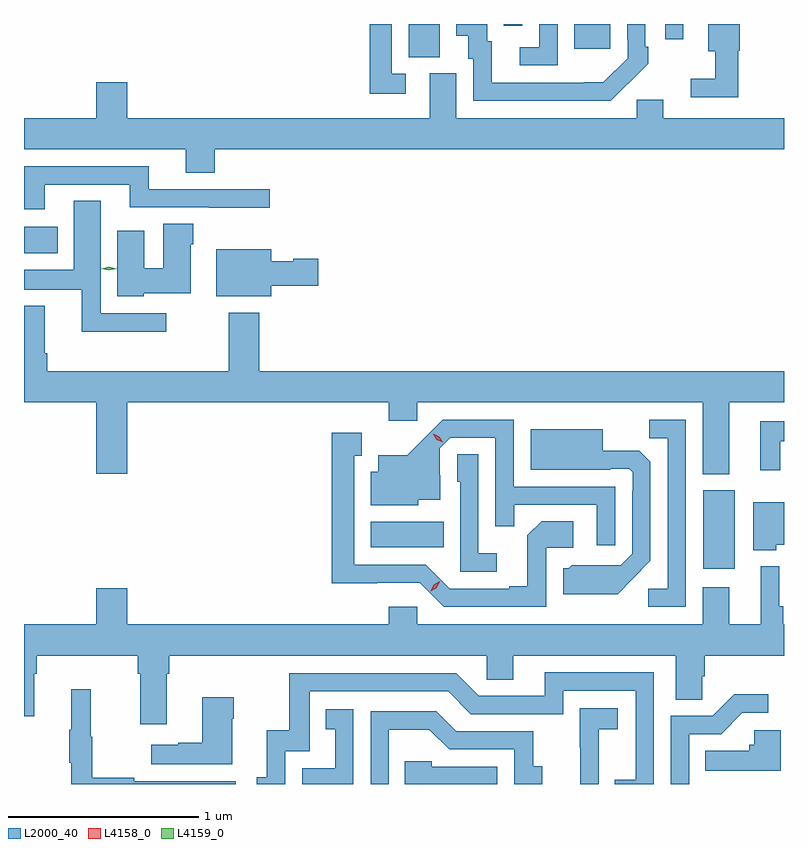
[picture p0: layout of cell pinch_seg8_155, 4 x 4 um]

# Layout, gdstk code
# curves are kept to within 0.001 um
import gdstk
lib = gdstk.Library(unit=1e-6, precision=1e-09)
def R(c, l, rs):  # rectangles x0, y0, x1, y1
    for r in rs: c.add(gdstk.rectangle(r[:2], r[2:], *l))
def P(c, l, *ps):  # polygons
    for p in ps: c.add(gdstk.Polygon(p, *l))
L2000_40 = (2000, 40)
L4158_0 = (4158, 0)
L4159_0 = (4159, 0)

pinch_seg8_155 = lib.new_cell('pinch_seg8_155')
R(pinch_seg8_155, L2000_40, [(707.663,1142.265,707.83,1142.677), (705.914,1142.378,706.298,1142.512), (704.088,1143.926,704.266,1144.066), (706.112,1144.957,706.276,1145.132), (706.985,1145.001,707.173,1145.132), (707.463,1145.052,707.559,1145.132), (706.614,1145.124,706.71,1145.132)])
P(pinch_seg8_155, L2000_40, [(706.096,1144.869),(706.023,1144.869),(706.023,1145.132),(705.907,1145.132),(705.907,1144.764),(706.096,1144.764)],
  [(707.848,1144.992),(707.856,1144.992),(707.856,1145.132),(707.69,1145.132),(707.69,1144.988),(707.727,1144.988),(707.727,1144.843),(707.598,1144.843),(707.598,1144.746),(707.848,1144.746)],
  [(707.267,1144.819),(707.268,1144.818),(707.373,1144.923),(707.373,1145.011),(707.358,1145.011),(707.358,1145.132),(707.262,1145.132),(707.262,1145.053),(707.265,1145.053),(707.265,1144.953),(707.137,1144.825),(707.033,1144.824),(706.549,1144.824),(706.549,1145.04),(706.525,1145.04),(706.525,1145.132),(706.364,1145.132),(706.364,1145.069),(706.427,1145.069),(706.427,1144.95),(706.452,1144.95),(706.452,1144.728),(707.176,1144.728)],
  [(706.896,1145.132),(706.8,1145.132),(706.8,1145.01),(706.698,1145.01),(706.698,1144.914),(706.896,1144.914)],
  [(705.092,1144.472),(708.088,1144.472),(708.088,1144.636),(707.452,1144.636),(707.452,1144.734),(707.313,1144.734),(707.313,1144.636),(706.363,1144.636),(706.363,1144.872),(706.223,1144.872),(706.223,1144.636),(704.632,1144.636),(704.632,1144.825),(704.468,1144.825),(704.468,1144.636),(704.088,1144.636),(704.088,1144.472),(704.939,1144.472),(704.939,1144.348),(705.092,1144.348)],
  [(704.197,1144.287),(704.645,1144.287),(704.645,1144.167),(705.061,1144.167),(705.061,1144.165),(705.382,1144.165),(705.382,1144.263),(704.744,1144.263),(704.744,1144.383),(704.088,1144.383),(704.088,1144.158),(704.197,1144.158)],
  [(704.836,1143.609),(704.491,1143.609),(704.491,1144.202),(704.351,1144.202),(704.351,1143.838),(704.088,1143.838),(704.088,1143.734),(704.393,1143.734),(704.393,1143.512),(704.836,1143.512)],
  [(704.718,1143.716),(704.965,1143.716),(704.965,1143.974),(704.978,1143.974),(704.978,1144.082),(704.822,1144.082),(704.822,1143.846),(704.722,1143.846),(704.722,1144.045),(704.579,1144.045),(704.579,1143.698),(704.718,1143.698)],
  [(705.388,1143.754),(705.637,1143.754),(705.637,1143.896),(705.504,1143.896),(705.504,1143.883),(705.388,1143.883),(705.388,1143.946),(705.101,1143.946),(705.101,1143.698),(705.388,1143.698)],
  [(707.8,1143.14),(708.088,1143.14),(708.088,1143.304),(705.326,1143.304),(705.326,1143.613),(705.166,1143.613),(705.166,1143.304),(704.21,1143.304),(704.21,1143.4),(704.197,1143.4),(704.197,1143.649),(704.088,1143.649),(704.088,1143.14),(704.468,1143.14),(704.468,1142.766),(704.632,1142.766),(704.632,1143.14),(706.007,1143.14),(706.007,1143.045),(706.158,1143.045),(706.158,1143.14),(707.66,1143.14),(707.66,1142.762),(707.8,1142.762)],
  [(707.199,1142.697),(706.665,1142.697),(706.665,1143.048),(706.292,1143.048),(706.105,1142.863),(705.953,1142.863),(705.953,1142.776),(705.914,1142.776),(705.914,1142.6),(706.164,1142.6),(706.164,1142.627),(706.279,1142.627),(706.279,1142.756),(706.275,1142.756),(706.275,1142.898),(706.332,1142.955),(706.569,1142.955),(706.569,1142.488),(706.667,1142.488),(706.667,1142.601),(707.103,1142.601),(707.103,1142.388),(707.199,1142.388)],
  [(707.571,1143.048),(707.38,1143.048),(707.38,1142.953),(707.475,1142.953),(707.475,1142.16),(707.373,1142.16),(707.373,1142.064),(707.571,1142.064)],
  [(708.067,1142.936),(708.088,1142.936),(708.088,1143.04),(707.963,1143.04),(707.963,1142.784),(708.067,1142.784)],
  [(707.293,1142.213),(707.385,1142.306),(707.385,1142.828),(707.326,1142.887),(707.134,1142.887),(707.134,1142.998),(706.754,1142.998),(706.754,1142.786),(707.174,1142.786),(707.174,1142.79),(707.274,1142.79),(707.292,1142.772),(707.292,1142.672),(707.289,1142.672),(707.289,1142.343),(707.229,1142.283),(706.972,1142.284),(706.956,1142.268),(706.925,1142.268),(706.925,1142.132),(707.213,1142.132)],
  [(706.836,1142.376),(706.978,1142.376),(706.978,1142.516),(706.813,1142.516),(706.737,1142.44),(706.737,1142.173),(706.643,1142.173),(706.643,1142.16),(706.329,1142.16),(706.203,1142.286),(705.826,1142.286),(705.826,1142.859),(705.865,1142.859),(705.865,1142.98),(705.708,1142.98),(705.708,1142.189),(706.17,1142.19),(706.296,1142.064),(706.836,1142.064)],
  [(706.576,1142.347),(706.479,1142.347),(706.479,1142.867),(706.368,1142.867),(706.368,1142.724),(706.383,1142.724),(706.383,1142.25),(706.576,1142.25)],
  [(708.048,1142.39),(708.088,1142.39),(708.088,1142.614),(707.927,1142.614),(707.927,1142.363),(708.048,1142.363)],
  [(704.839,1141.712),(704.852,1141.712),(704.852,1141.808),(706.524,1141.808),(706.524,1141.681),(706.663,1141.681),(706.663,1141.808),(707.519,1141.808),(707.519,1141.576),(707.658,1141.576),(707.658,1141.699),(707.672,1141.699),(707.672,1141.808),(708.088,1141.808),(708.088,1141.972),(708.083,1141.972),(708.083,1142.068),(708.063,1142.068),(708.063,1142.278),(707.966,1142.278),(707.966,1141.972),(707.8,1141.972),(707.8,1142.167),(707.66,1142.167),(707.66,1141.972),(706.158,1141.972),(706.158,1142.065),(706.007,1142.065),(706.007,1141.972),(704.632,1141.972),(704.632,1142.161),(704.468,1142.161),(704.468,1141.972),(704.088,1141.972),(704.088,1141.488),(704.143,1141.488),(704.143,1141.712),(704.156,1141.712),(704.156,1141.808),(704.687,1141.808),(704.687,1141.712),(704.699,1141.712),(704.699,1141.446),(704.839,1141.446)],
  [(705.462,1141.305),(705.591,1141.305),(705.591,1141.62),(706.32,1141.62),(706.44,1141.5),(706.926,1141.5),(706.926,1141.623),(707.307,1141.623),(707.307,1141.154),(707.197,1141.154),(707.197,1141.132),(707.403,1141.132),(707.403,1141.719),(706.829,1141.719),(706.829,1141.596),(706.482,1141.596),(706.362,1141.716),(705.483,1141.716),(705.483,1141.414),(705.365,1141.414),(705.365,1141.167),(705.312,1141.167),(705.312,1141.132),(705.462,1141.132)],
  [(705.202,1141.146),(704.669,1141.146),(704.669,1141.166),(704.446,1141.166),(704.446,1141.38),(704.438,1141.38),(704.438,1141.63),(704.336,1141.63),(704.336,1141.417),(704.325,1141.417),(704.325,1141.243),(704.336,1141.243),(704.336,1141.132),(705.202,1141.132)],
  [(707.589,1141.395),(707.758,1141.395),(707.869,1141.506),(708.004,1141.506),(708.004,1141.604),(707.825,1141.604),(707.712,1141.491),(707.493,1141.491),(707.493,1141.132),(707.589,1141.132)],
  [(705.184,1141.475),(705.192,1141.475),(705.192,1141.588),(705.026,1141.588),(705.026,1141.349),(704.9,1141.349),(704.9,1141.339),(704.757,1141.339),(704.757,1141.235),(705.184,1141.235)],
  [(707.112,1141.193),(707.114,1141.193),(707.114,1141.421),(707.212,1141.421),(707.212,1141.531),(707.014,1141.531),(707.014,1141.325),(707.015,1141.325),(707.015,1141.132),(707.112,1141.132)],
  [(705.822,1141.525),(705.676,1141.525),(705.676,1141.419),(705.725,1141.419),(705.725,1141.215),(705.552,1141.215),(705.552,1141.132),(705.822,1141.132)],
  [(706.008,1141.418),(706.222,1141.418),(706.326,1141.314),(706.668,1141.314),(706.668,1141.132),(706.816,1141.132),(706.816,1141.225),(706.767,1141.225),(706.767,1141.41),(706.363,1141.41),(706.258,1141.515),(705.912,1141.515),(705.912,1141.132),(706.008,1141.132)],
  [(708.07,1141.414),(707.931,1141.414),(707.931,1141.338),(707.905,1141.338),(707.905,1141.306),(707.674,1141.306),(707.674,1141.202),(708.07,1141.202)],
  [(706.578,1141.224),(706.233,1141.224),(706.233,1141.251),(706.093,1141.251),(706.093,1141.132),(706.578,1141.132)])
P(pinch_seg8_155, L4158_0, [(706.291,1142.93),(706.26,1142.945),(706.242,1142.974),(706.242,1142.975),(706.242,1142.975),(706.273,1142.96),(706.291,1142.93),(706.291,1142.93)],
  [(706.228,1142.146),(706.228,1142.147),(706.245,1142.18),(706.276,1142.199),(706.277,1142.199),(706.277,1142.199),(706.26,1142.166),(706.228,1142.146)])
P(pinch_seg8_155, L4159_0, [(704.535,1143.835),(704.494,1143.845),(704.494,1143.845),(704.494,1143.845),(704.535,1143.855),(704.575,1143.845),(704.576,1143.845),(704.575,1143.845)])

lib.write_gds('pinch_seg8_155.gds')
